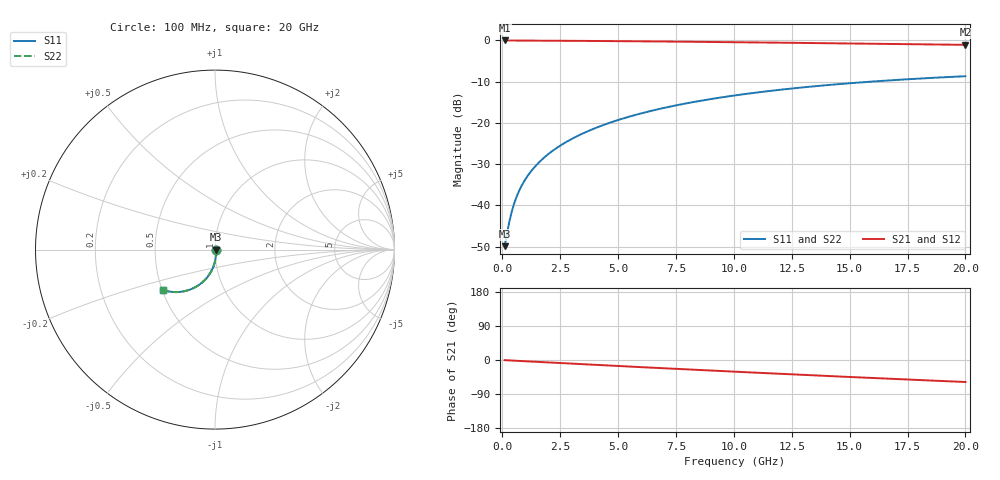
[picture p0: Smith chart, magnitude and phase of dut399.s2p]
! Touchstone file exported from HFSS 2026.1.0
!  File:  C:/ffzhzh/LocalFiles/Ansys_Project_Files/temp_train_BSMRDL_399_1783012307_51716.aedt
!  Generated:  01:13:34 AM Jul  3, 2026
!  Design:  BSMRDL
!  Project:  temp_train_BSMRDL_399_1783012307_51716
! Variables:
!  h_bsmrdl = 4.8um
!  h_ox = 20um
!  h_rdl = 5um
!  h_sub = 80um
!  h_tmrdl = 5um
!  h_tsv = 80um
!  h_via = 3um
!  l_bsmrdl = 963.01um
!  l_sub = 1363.01um
!  l_tmrdl = 200um
!  m_sub = 200um
!  pitch = 29.6um
!  r_tsv = 6um
!  s_tmrdl = 10um
!  w_bsmrdl = 27.89um
!  w_sub = 500um
!  w_tmrdl = 12um
!  x_tsv_center1 = 206um
!  x_tsv_center2 = 1196.9um
!  x_tsv_center3 = 1408.9um
!  x_tsv_center4 = 2399.8um
!  x_tsv_center5 = 2611.8um
!  x_tsv_center6 = 3602.7um
# GHz S MA R 50.000000
! Terminal data exported
! Port[1] = BSM_RDL1_1_T1
! Port[2] = BSM_RDL1_1_T2
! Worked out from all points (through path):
!   200 points, 100 MHz to 20 GHz, reference 50 ohm
!   highest |S21| = -0.03 dB at 100 MHz (marker M1); lowest = -1.1 dB at 20 GHz (marker M2)
!   group delay of S21, straight-line fit = 8.04 ps
!   lowest |S11| = -49.9 dB at 100 MHz (marker M3), VSWR 1.01, Z = 50.3 - j0.093 ohm
!   |S11| at or under -10 dB: start of sweep to 15.95 GHz
!   |S22| runs from -49.9 to -8.7 dB; largest |S21 - S12| = 7.2e-15
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0.1  0.003198 -16.8  0.9969 -0.4  0.9969 -0.4  0.003198 -16.8
! Gamma 0 0 0 0
! Port Impedance 50 0 50 0
0.3  0.006254 -42.9  0.9953 -1.1  0.9953 -1.1  0.006254 -42.9
0.4  0.008208 -51.4  0.9947 -1.4  0.9947 -1.4  0.008208 -51.4
0.5  0.01025 -57.7  0.9942 -1.7  0.9942 -1.7  0.01025 -57.7
0.6  0.01232 -62.5  0.9939 -2.0  0.9939 -2.0  0.01232 -62.5
0.8  0.01652 -69.2  0.9933 -2.7  0.9933 -2.7  0.01652 -69.2
1.1  0.02286 -75.4  0.9926 -3.6  0.9926 -3.6  0.02285 -75.4
1.3  0.0271 -78.2  0.9922 -4.3  0.9922 -4.3  0.02709 -78.2
1.5  0.03135 -80.4  0.9917 -4.9  0.9917 -4.9  0.03135 -80.4
1.8  0.03776 -83.0  0.9909 -5.9  0.9909 -5.9  0.03776 -83.0
2.1  0.04422 -85.1  0.99 -6.8  0.99 -6.8  0.04421 -85.1
2.7  0.05725 -88.3  0.988 -8.7  0.988 -8.7  0.05725 -88.3
3.5  0.07485 -91.8  0.9849 -11.2  0.9849 -11.2  0.07484 -91.8
4.2  0.09038 -94.6  0.9819 -13.4  0.9819 -13.4  0.09037 -94.6
5  0.1082 -97.5  0.9782 -15.8  0.9782 -15.8  0.1082 -97.5
5.9  0.1281 -100.7  0.9737 -18.6  0.9737 -18.6  0.1281 -100.7
6.8  0.1477 -103.7  0.9689 -21.3  0.9689 -21.3  0.1477 -103.7
8.3  0.1797 -108.7  0.9604 -25.7  0.9604 -25.7  0.1796 -108.7
10.1  0.2161 -114.4  0.9494 -31.0  0.9494 -31.0  0.216 -114.4
13.4  0.2762 -124.3  0.9275 -40.4  0.9275 -40.4  0.2761 -124.3
16.7  0.3268 -133.6  0.9046 -49.4  0.9046 -49.4  0.3267 -133.6
20  0.3674 -142.3  0.8824 -58.0  0.8824 -58.0  0.3673 -142.3
